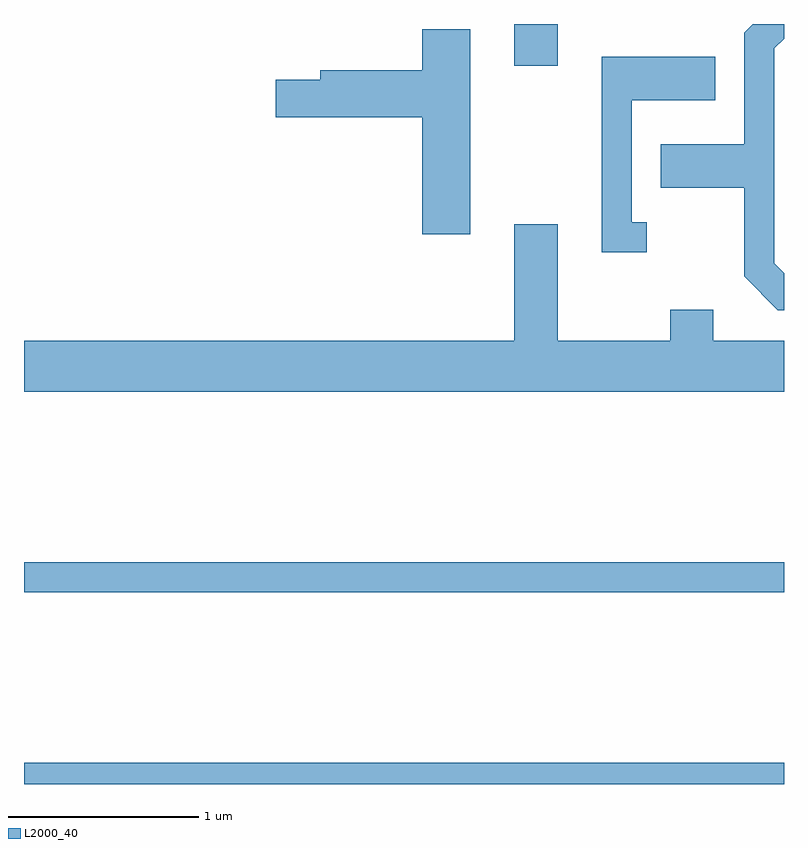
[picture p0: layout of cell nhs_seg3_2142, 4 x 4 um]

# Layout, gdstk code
import gdstk
lib = gdstk.Library(unit=1e-6, precision=1e-09)
def R(c, l, rs):  # rectangles x0, y0, x1, y1
    for r in rs: c.add(gdstk.rectangle(r[:2], r[2:], *l))
def P(c, l, *ps):  # polygons
    for p in ps: c.add(gdstk.Polygon(p, *l))
L2000_40 = (2000, 40)

nhs_seg3_2142 = lib.new_cell('nhs_seg3_2142')
R(nhs_seg3_2142, L2000_40, [(247.611,1183.892,251.611,1184.004), (247.611,1184.901,251.611,1185.059), (250.191,1187.671,250.419,1187.892)])
P(nhs_seg3_2142, L2000_40, [(251.611,1186.58),(251.559,1186.632),(251.559,1187.764),(251.611,1187.815),(251.611,1187.892),(251.446,1187.892),(251.401,1187.847),(251.401,1187.259),(250.961,1187.259),(250.961,1187.031),(251.401,1187.031),(251.401,1186.564),(251.579,1186.386),(251.611,1186.386)],
  [(249.959,1187.864),(249.706,1187.864),(249.706,1187.649),(249.171,1187.649),(249.171,1187.599),(248.936,1187.599),(248.936,1187.401),(249.706,1187.401),(249.706,1186.786),(249.959,1186.786)],
  [(250.888,1186.849),(250.809,1186.849),(250.809,1187.491),(251.249,1187.491),(251.249,1187.719),(250.651,1187.719),(250.651,1186.691),(250.888,1186.691)],
  [(251.611,1186.224),(251.239,1186.224),(251.239,1186.389),(251.011,1186.389),(251.011,1186.224),(250.419,1186.224),(250.419,1186.839),(250.191,1186.839),(250.191,1186.224),(247.611,1186.224),(247.611,1185.956),(251.611,1185.956)])

lib.write_gds('nhs_seg3_2142.gds')
